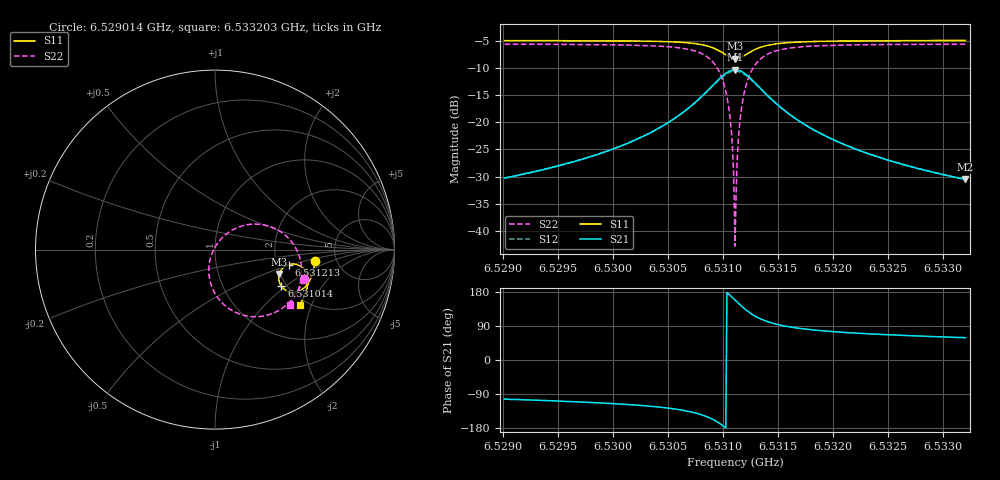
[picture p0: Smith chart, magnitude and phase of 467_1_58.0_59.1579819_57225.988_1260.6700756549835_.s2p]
#  HZ  S  RI  R  50.00
! Rohde & Schwarz Vector Network Analyzer
! Rohde-Schwarz,ZNB20-2Port,1311601062101988,3.16
! Created: UTC 3/21/2024, 1:11:12 AM
! freq[Hz]  re:S11  im:S11  re:S21  im:S21  re:S12  im:S12  re:S22  im:S22
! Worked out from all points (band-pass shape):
!   401 points, 6.529014 GHz to 6.533203 GHz, reference 50 ohm
!   highest |S21| = -10.36 dB at 6.531108 GHz (marker M1); lowest = -30.5 dB at 6.533203 GHz (marker M2)
!   |S21| within 3 dB of the highest: 6.5309 GHz to 6.531319 GHz (418.7 kHz wide, 0.00641 % of centre)
!   lowest |S11| = -8.3 dB at 6.531108 GHz (marker M3), VSWR 2.24, Z = 99.2 - j31.6 ohm
!   |S11| at or under -10 dB: nowhere
!   |S22| runs from -42.7 to -5.7 dB; largest |S21 - S12| = 0.012
!   S11 on the Smith chart (normalised r, x): 6.529014 GHz: 3.44, -0.61; 6.531014 GHz: 1.87, -0.93; 6.531213 GHz: 2.34, -0.47; 6.533203 GHz: 1.82, -1.64
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6.5290138e9  0.5576 -0.0611  -0.00696 -0.0299  -0.00769 -0.0298  0.4936 -0.1645
6.5297154e9  0.547 -0.1192  -0.0165 -0.0426  -0.0174 -0.0423  0.4633 -0.2297
6.5304171e9  0.5186 -0.1881  -0.0497 -0.0731  -0.0517 -0.0717  0.3826 -0.321
6.5306579e9  0.4918 -0.2179  -0.089 -0.0922  -0.0916 -0.0892  0.303 -0.3616
6.530836e9  0.4484 -0.2369  -0.1561 -0.0987  -0.1585 -0.0923  0.178 -0.3701
6.5309407e9  0.4044 -0.2317  -0.2248 -0.0726  -0.224 -0.0634  0.0609 -0.3162
6.531014e9  0.3699 -0.2046  -0.2755 -0.0149  -0.27 -0.00534  -0.0163 -0.2109
6.5310559e9  0.3573 -0.1772  -0.2915 0.0373  -0.2828 0.0452  -0.0344 -0.1213
6.5310768e9  0.3552 -0.1609  -0.292 0.067  -0.2823 0.0732  -0.031 -0.0723
6.5310873e9  0.3553 -0.1526  -0.2903 0.0821  -0.28 0.0874  -0.0254 -0.0476
6.5310978e9  0.3564 -0.1443  -0.2869 0.0973  -0.2765 0.1016  -0.0175 -0.0234
6.5311083e9  0.3584 -0.136  -0.282 0.1119  -0.2715 0.1153  -0.00729 -1.05e-06
6.5311187e9  0.3614 -0.128  -0.2757 0.1259  -0.2651 0.1285  0.00551 0.0222
6.5311292e9  0.3651 -0.1205  -0.2681 0.1395  -0.2575 0.141  0.0201 0.0431
6.5311397e9  0.3694 -0.1134  -0.2591 0.1518  -0.2489 0.1526  0.0364 0.0622
6.5311606e9  0.3804 -0.1011  -0.2385 0.1735  -0.2292 0.1727  0.0739 0.0945
6.531213e9  0.4132 -0.083  -0.1787 0.2056  -0.1722 0.2025  0.178 0.1383
6.5312863e9  0.4556 -0.0833  -0.1039 0.2077  -0.1006 0.2046  0.3042 0.1294
6.531391e9  0.4925 -0.1059  -0.0395 0.1769  -0.038 0.1753  0.4094 0.0632
6.5318099e9  0.5177 -0.1855  0.0157 0.0853  0.0167 0.0851  0.4828 -0.1279
6.5325116e9  0.4981 -0.257  0.0178 0.0408  0.0184 0.0407  0.455 -0.245
6.5332027e9  0.4711 -0.3082  0.0154 0.0256  0.016 0.0255  0.4201 -0.3065
